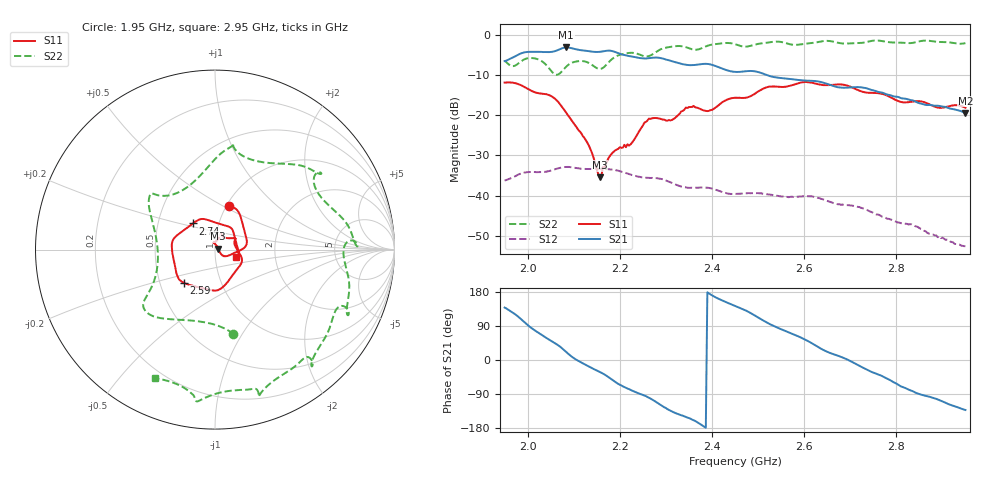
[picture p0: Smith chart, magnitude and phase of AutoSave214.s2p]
!Agilent N9923A: A.07.32
!Date: Thursday, 02 June 2016 02:22:50
!Model: N9923A
!Serial: MY52412257
!GPS Latitude:
!GPS Longitude:
!GPS TimeStamp: 0001-01-01 00:00:00Z
!GPS Seconds Since Last Read: 0
!CHECKSUM:1605674550
!Correction: S11(ON U)S21(ON U)S12(ON U)S22(ON U)
!S2P File: Measurements:S11,S21,S12,S22:
# Hz S DB R 50
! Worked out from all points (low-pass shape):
!   301 points, 1.95 GHz to 2.95 GHz, reference 50 ohm
!   highest |S21| = -3.10 dB at 2.083 GHz (marker M1); lowest = -19.5 dB at 2.95 GHz (marker M2)
!   |S21| within 3 dB of the highest: 1.959 GHz to 2.3 GHz (340.5 MHz wide, 16 % of centre)
!   lowest |S11| = -35.4 dB at 2.157 GHz (marker M3), VSWR 1.03, Z = 51.6 + j0.621 ohm
!   |S11| at or under -10 dB: start of sweep to end of sweep
!   |S22| runs from -9.9 to -1.4 dB; largest |S21 - S12| = 0.68
!   S11 on the Smith chart (normalised r, x): 1.95 GHz: 1.02, +0.53; 2.59 GHz: 0.66, -0.26; 2.74 GHz: 0.75, +0.23; 2.95 GHz: 1.26, -0.10
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1.95e9  -11.85 72.6  -6.51 138.4  -36.26 144.4  -6.36 -77.7
2.006667e9  -13.82 39.4  -4.19 85.7  -34.12 91.8  -5.73 -138.2
2.06e9  -15.96 2.5  -4.00 43.9  -33.44 47.4  -9.86 -171.6
2.083333e9  -19.29 -9.6  -3.10 21.5  -32.88 23.4  -7.94 152.6
2.12e9  -25.23 -36.7  -3.84 -8.9  -33.35 -10.0  -6.51 138.5
2.156667e9  -35.44 20.9  -4.20 -31.4  -33.37 -40.3  -8.47 119.2
2.18e9  -29.91 90.5  -3.92 -49.3  -33.50 -61.7  -6.32 92.3
2.216667e9  -27.25 89.4  -5.16 -75.3  -34.52 -93.3  -4.51 79.9
2.25e9  -22.57 71.6  -5.82 -92.4  -35.48 -115.5  -5.18 75.6
2.286667e9  -20.84 66.6  -5.70 -117.1  -35.78 -142.3  -3.68 46.2
2.346667e9  -18.18 31.3  -7.47 -151.8  -38.06 -179.9  -3.15 36.8
2.386667e9  -18.92 17.7  -7.18 -179.0  -38.04 156.0  -2.84 15.2
2.453333e9  -15.64 -29.2  -9.21 141.3  -39.60 118.3  -2.41 3.8
2.526667e9  -12.86 -87.9  -10.28 93.9  -39.78 72.5  -1.79 -25.6
2.59e9  -11.93 -133.0  -11.24 61.0  -40.26 35.8  -2.39 -30.4
2.62e9  -11.97 -148.5  -11.46 41.8  -40.30 12.7  -1.96 -44.1
2.696667e9  -12.72 161.7  -13.09 -0.4  -42.42 -36.5  -2.11 -52.6
2.74e9  -14.40 130.0  -13.44 -28.0  -43.79 -66.9  -1.63 -71.3
2.783333e9  -15.28 105.1  -14.91 -51.0  -45.81 -91.3  -1.80 -73.4
2.863333e9  -16.86 45.6  -17.40 -94.6  -48.89 -135.5  -1.39 -96.8
2.92e9  -17.60 -4.2  -18.40 -119.2  -51.59 -161.6  -1.93 -100.5
2.95e9  -18.14 -18.4  -19.46 -131.9  -52.63 177.8  -2.03 -115.1
